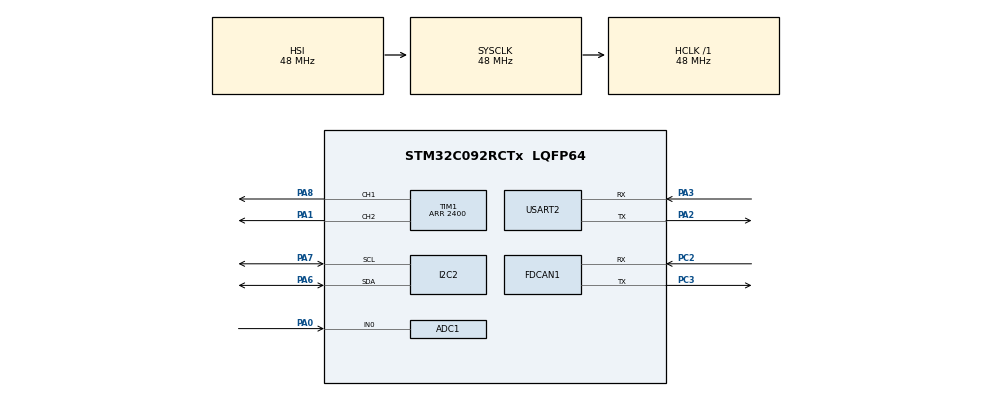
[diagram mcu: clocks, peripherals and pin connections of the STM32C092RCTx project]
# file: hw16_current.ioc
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ADC1.NbrOfConversionFlag=0
ADC1.SelectedChannel=ADC_CHANNEL_0
ADC1.master=1
FDCAN1.CalculateBaudRateNominal=1000000
FDCAN1.CalculateTimeBitNominal=1000
FDCAN1.CalculateTimeQuantumNominal=333.3333333333333
I2C2.Timing=0x10805D88
Mcu.Family=STM32C0
Mcu.Name=STM32C092RCTx
Mcu.Package=LQFP64
NUCLEO-C092RC.BUTTON=1
NUCLEO-C092RC.LD1=true
NUCLEO-C092RC.LD2=true
NUCLEO-C092RC.VCP=false
NVIC.EXTI4_15_IRQn=true\:0\:0\:false\:false\:true\:false\:true\:true
NVIC.TIM2_IRQn=true\:0\:0\:false\:false\:true\:true\:true\:true
PA0.Mode=IN0
PA0.Signal=ADC1_IN0
PA1.Signal=S_TIM1_CH2
PA13.GPIO_Label=SWDIO
PA13.Signal=DEBUG_SWDIO
PA14-BOOT0.GPIO_Label=SWCLK
PA14-BOOT0.Signal=DEBUG_SWCLK
PA2.Mode=Asynchronous
PA2.Signal=USART2_TX
PA3.Mode=Asynchronous
PA3.Signal=USART2_RX
PA6.Mode=I2C
PA6.Signal=I2C2_SDA
PA7.Mode=I2C
PA7.Signal=I2C2_SCL
PA8.Signal=S_TIM1_CH1
PC14-OSCX_IN(PC14).GPIO_Label=OSCX_IN
PC14-OSCX_IN(PC14).Signal=RCC_OSCX_IN
PC15-OSCX_OUT(PC15).GPIO_Label=OSCX_OUT
PC15-OSCX_OUT(PC15).Signal=RCC_OSCX_OUT
PC2.Mode=FDCAN_Activate
PC2.Signal=FDCAN1_RX
PC3.Mode=FDCAN_Activate
PC3.Signal=FDCAN1_TX
PF0-OSC_IN(PF0).GPIO_Label=OSC_IN
PF0-OSC_IN(PF0).Signal=RCC_OSC_IN
PF1-OSC_OUT(PF1).GPIO_Label=OSC_OUT
PF1-OSC_OUT(PF1).Signal=RCC_OSC_OUT
ProjectManager.HeapSize=0x200
ProjectManager.StackSize=0x400
ProjectManager.TargetToolchain=STM32CubeIDE
RCC.ADCFreq_Value=48000000
RCC.AHBFreq_Value=48000000
RCC.CortexFreq_Value=48000000
RCC.EXTERNAL_CLOCK_VALUE=12288000
RCC.HCLKFreq_Value=48000000
RCC.HSE_VALUE=8000000
RCC.HSISYSCLKDivider=RCC_HSI_DIV1
RCC.HSI_VALUE=48000000
RCC.LSE_VALUE=32768
RCC.SYSCLKFreq_VALUE=48000000
SH.S_TIM1_CH1.0=TIM1_CH1,PWM Generation1 CH1
SH.S_TIM1_CH2.0=TIM1_CH2,PWM Generation2 CH2
TIM1.Channel-PWM\ Generation1\ CH1=TIM_CHANNEL_1
TIM1.Channel-PWM\ Generation2\ CH2=TIM_CHANNEL_2
TIM1.Period=2400
TIM2.Period=48000
USART2.VirtualMode-Asynchronous=VM_ASYNC
VP_NUCLEO-C092RC_VS_BSP_COMMON.Mode=COMMON
VP_TIM1_VS_ClockSourceINT.Mode=Internal
VP_TIM2_VS_ClockSourceINT.Mode=Internal
board=NUCLEO-C092RC

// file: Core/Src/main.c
/* USER CODE BEGIN Header */
/**
  ******************************************************************************
  * @file           : main.c
  * @brief          : Main program body
  ******************************************************************************
  * @attention
  *
  * Copyright (c) 2026 STMicroelectronics.
  * All rights reserved.
  *
  * This software is licensed under terms that can be found in the LICENSE file
  * in the root directory of this software component.
  * If no LICENSE file comes with this software, it is provided AS-IS.
  *
  ******************************************************************************
  */
/* USER CODE END Header */
#include "main.h"

/* USER CODE BEGIN Includes */
#include <stdio.h>
/* USER CODE END Includes */

/* USER CODE BEGIN PD */
#define INA219_ADDR             0x40   // default I2C address (A0=A1=GND)
#define INA219_REG_CONFIG       0x00
#define INA219_REG_SHUNTVOLTAGE 0x01
#define INA219_REG_BUSVOLTAGE   0x02
#define INA219_REG_POWER        0x03
#define INA219_REG_CURRENT      0x04
#define INA219_REG_CALIBRATION  0x05
#define AS5600_ADDR        0x36
#define AS5600_RAW_ANGLE   0x0C   // high byte; low byte at 0x0D
/* USER CODE END PD */

ADC_HandleTypeDef hadc1;

FDCAN_HandleTypeDef hfdcan1;

I2C_HandleTypeDef hi2c2;

TIM_HandleTypeDef htim1;
TIM_HandleTypeDef htim2;

UART_HandleTypeDef huart2;

/* USER CODE BEGIN PV */
volatile int state = 0;
#define EINTMAX 5000
// PI controller gains (hard-coded, tune these)
float kp = 0.4;
float ki = 0.2;

// Control loop variables
volatile float desired_current = 200.0;   // target, in same units as readINA219 (1/3 mA)
volatile float eint = 0.0;                 // integral of error

// Data logging arrays (400 samples)
#define NSAMPLES 400
volatile int   log_index[NSAMPLES];
volatile float log_desired[NSAMPLES];
volatile float log_actual[NSAMPLES];
volatile int   samples_collected = 0;
/* USER CODE END PV */

void SystemClock_Config(void);
static void MX_GPIO_Init(void);
static void MX_ADC1_Init(void);
static void MX_FDCAN1_Init(void);
static void MX_I2C2_Init(void);
static void MX_TIM1_Init(void);
static void MX_TIM2_Init(void);
static void MX_USART2_UART_Init(void);
/* USER CODE BEGIN PFP */
uint32_t readADC(void);
void init_ina219(void);
float read_ina219(void);
void writeINA219(int reg, int value);
signed short readINA219(unsigned char reg);
/* USER CODE END PFP */

/* USER CODE BEGIN 0 */
// Retarget printf to USART2 (the VCP to the PC)
int __io_putchar(int ch)
{
    HAL_UART_Transmit(&huart2, (uint8_t*)&ch, 1, 100);
    return ch;
}

// Read the 12-bit raw angle from the AS5600 (0-4095 = 0-360 degrees)
uint16_t readAS5600(void)
{
    uint8_t reg = AS5600_RAW_ANGLE;
    uint8_t buf[2];
    HAL_I2C_Master_Transmit(&hi2c2, AS5600_ADDR << 1, &reg, 1, 10);
    HAL_I2C_Master_Receive(&hi2c2, AS5600_ADDR << 1, buf, 2, 10);
    uint16_t angle = ((buf[0] << 8) | buf[1]) & 0x0FFF;  // 12-bit
    return angle;
}

// Read one ADC sample from the potentiometer (PA0 / ADC1_IN0)
uint32_t readADC(void)
{
    uint32_t raw;
    HAL_ADC_Start(&hadc1);
    if (HAL_ADC_PollForConversion(&hadc1, 10) == HAL_OK)
    {
        raw = HAL_ADC_GetValue(&hadc1);
    }
    else
    {
        raw = 0;
    }
    HAL_ADC_Stop(&hadc1);
    return raw;
}

// write 2 bytes to an INA219 register
void writeINA219(int reg, int value)
{
    uint8_t buf[3];
    buf[0] = reg;
    buf[1] = value >> 8;
    buf[2] = value & 0xff;
    HAL_I2C_Master_Transmit(&hi2c2, INA219_ADDR << 1, buf, 3, 10);
}

// read 2 bytes from an INA219 register
signed short readINA219(unsigned char reg)
{
    HAL_I2C_Master_Transmit(&hi2c2, INA219_ADDR << 1, &reg, 1, 10);
    uint8_t buffer[2];
    HAL_I2C_Master_Receive(&hi2c2, INA219_ADDR << 1, buffer, 2, 10);
    signed short value = (buffer[0] << 8) | buffer[1];
    return value;
}

// initialize the INA219 (10-bit, +/-160mV, 148us per sample)
void init_ina219(void)
{
    unsigned short ina219_calValue = 1024;
    unsigned short ina219_config = 0b0011000010001111;
    writeINA219(INA219_REG_CALIBRATION, ina219_calValue);
    writeINA219(INA219_REG_CONFIG, ina219_config);
}

// read current as a float in milliamps
float read_ina219(void)
{
    float ma = 0;
    signed short value = readINA219(INA219_REG_CURRENT);
    ma = value / 3.0;
    return ma;
}

/* USER CODE END 0 */

int main(void)
{

  /* MCU Configuration--------------------------------------------------------*/

  /* Reset of all peripherals, Initializes the Flash interface and the Systick. */
  HAL_Init();

  /* Configure the system clock */
  SystemClock_Config();

  /* Initialize all configured peripherals */
  MX_GPIO_Init();
  MX_ADC1_Init();
  MX_FDCAN1_Init();
  MX_I2C2_Init();
  MX_TIM1_Init();
  MX_TIM2_Init();
  MX_USART2_UART_Init();
  /* USER CODE BEGIN 2 */
  HAL_ADCEx_Calibration_Start(&hadc1);
  init_ina219();
  HAL_TIM_Base_Start_IT(&htim2);
  signed short cfg = readINA219(INA219_REG_CONFIG);
  printf("Config readback: 0x%04X (expect 0x308F)\r\n", (unsigned short)cfg);

  // Start PWM, motor OFF (both high)
  __HAL_TIM_SET_COMPARE(&htim1, TIM_CHANNEL_1, 2400);
  __HAL_TIM_SET_COMPARE(&htim1, TIM_CHANNEL_2, 2400);
  HAL_TIM_PWM_Start(&htim1, TIM_CHANNEL_1);
  HAL_TIM_PWM_Start(&htim1, TIM_CHANNEL_2);

  printf("Current controller - send 'a' to run\r\n");
  /* USER CODE END 2 */

  /* Initialize leds */
  BSP_LED_Init(LED_GREEN);
  BSP_LED_Init(LED_BLUE);

  /* Initialize USER push-button, will be used to trigger an interrupt each time it's pressed.*/
  BSP_PB_Init(BUTTON_USER, BUTTON_MODE_EXTI);

  /* Infinite loop */
  /* USER CODE BEGIN WHILE */

  /* USER CODE BEGIN WHILE */
  while (1)
  {

	    uint8_t c;
	    if (HAL_UART_Receive(&huart2, &c, 1, 10) == HAL_OK)
	    {
	      if (c == 'a')
      {
        state = 1;                 // start the control run
        while (state == 1) { }     // wait for the interrupt to finish 400 cycles

        // Print the logged data
        for (int i = 0; i < samples_collected; i++)
        {
          printf("%d %d %d\r\n",
                 log_index[i],
                 (int)log_desired[i],
                 (int)log_actual[i]);
        }
        printf("done\r\n");
      }
    }
    /* USER CODE END WHILE */

  }
}
void SystemClock_Config(void)
{
  RCC_OscInitTypeDef RCC_OscInitStruct = {0};
  RCC_ClkInitTypeDef RCC_ClkInitStruct = {0};

  __HAL_FLASH_SET_LATENCY(FLASH_LATENCY_1);

  /** Initializes the RCC Oscillators according to the specified parameters
  * in the RCC_OscInitTypeDef structure.
  */
  RCC_OscInitStruct.OscillatorType = RCC_OSCILLATORTYPE_HSI;
  RCC_OscInitStruct.HSIState = RCC_HSI_ON;
  RCC_OscInitStruct.HSIDiv = RCC_HSI_DIV1;
  RCC_OscInitStruct.HSICalibrationValue = RCC_HSICALIBRATION_DEFAULT;
  if (HAL_RCC_OscConfig(&RCC_OscInitStruct) != HAL_OK)
  {
    Error_Handler();
  }

  /** Initializes the CPU, AHB and APB buses clocks
  */
  RCC_ClkInitStruct.ClockType = RCC_CLOCKTYPE_HCLK|RCC_CLOCKTYPE_SYSCLK
                              |RCC_CLOCKTYPE_PCLK1;
  RCC_ClkInitStruct.SYSCLKSource = RCC_SYSCLKSOURCE_HSI;
  RCC_ClkInitStruct.SYSCLKDivider = RCC_SYSCLK_DIV1;
  RCC_ClkInitStruct.AHBCLKDivider = RCC_HCLK_DIV1;
  RCC_ClkInitStruct.APB1CLKDivider = RCC_APB1_DIV1;

  if (HAL_RCC_ClockConfig(&RCC_ClkInitStruct, FLASH_LATENCY_1) != HAL_OK)
  {
    Error_Handler();
  }
}

static void MX_ADC1_Init(void)
{

  ADC_ChannelConfTypeDef sConfig = {0};

  /** Configure the global features of the ADC (Clock, Resolution, Data Alignment and number of conversion)
  */
  hadc1.Instance = ADC1;
  hadc1.Init.ClockPrescaler = ADC_CLOCK_SYNC_PCLK_DIV2;
  hadc1.Init.Resolution = ADC_RESOLUTION_12B;
  hadc1.Init.DataAlign = ADC_DATAALIGN_RIGHT;
  hadc1.Init.ScanConvMode = ADC_SCAN_SEQ_FIXED;
  hadc1.Init.EOCSelection = ADC_EOC_SINGLE_CONV;
  hadc1.Init.LowPowerAutoWait = DISABLE;
  hadc1.Init.LowPowerAutoPowerOff = DISABLE;
  hadc1.Init.ContinuousConvMode = DISABLE;
  hadc1.Init.NbrOfConversion = 1;
  hadc1.Init.DiscontinuousConvMode = DISABLE;
  hadc1.Init.ExternalTrigConv = ADC_SOFTWARE_START;
  hadc1.Init.ExternalTrigConvEdge = ADC_EXTERNALTRIGCONVEDGE_NONE;
  hadc1.Init.DMAContinuousRequests = DISABLE;
  hadc1.Init.Overrun = ADC_OVR_DATA_PRESERVED;
  hadc1.Init.SamplingTimeCommon1 = ADC_SAMPLETIME_1CYCLE_5;
  hadc1.Init.OversamplingMode = DISABLE;
  hadc1.Init.TriggerFrequencyMode = ADC_TRIGGER_FREQ_HIGH;
  if (HAL_ADC_Init(&hadc1) != HAL_OK)
  {
    Error_Handler();
  }

  /** Configure Regular Channel
  */
  sConfig.Channel = ADC_CHANNEL_0;
  sConfig.Rank = ADC_RANK_CHANNEL_NUMBER;
  if (HAL_ADC_ConfigChannel(&hadc1, &sConfig) != HAL_OK)
  {
    Error_Handler();
  }

}

static void MX_FDCAN1_Init(void)
{

  hfdcan1.Instance = FDCAN1;
  hfdcan1.Init.ClockDivider = FDCAN_CLOCK_DIV1;
  hfdcan1.Init.FrameFormat = FDCAN_FRAME_CLASSIC;
  hfdcan1.Init.Mode = FDCAN_MODE_NORMAL;
  hfdcan1.Init.AutoRetransmission = DISABLE;
  hfdcan1.Init.TransmitPause = DISABLE;
  hfdcan1.Init.ProtocolException = DISABLE;
  hfdcan1.Init.NominalPrescaler = 16;
  hfdcan1.Init.NominalSyncJumpWidth = 1;
  hfdcan1.Init.NominalTimeSeg1 = 1;
  hfdcan1.Init.NominalTimeSeg2 = 1;
  hfdcan1.Init.DataPrescaler = 1;
  hfdcan1.Init.DataSyncJumpWidth = 1;
  hfdcan1.Init.DataTimeSeg1 = 1;
  hfdcan1.Init.DataTimeSeg2 = 1;
  hfdcan1.Init.StdFiltersNbr = 0;
  hfdcan1.Init.ExtFiltersNbr = 0;
  hfdcan1.Init.TxFifoQueueMode = FDCAN_TX_FIFO_OPERATION;
  if (HAL_FDCAN_Init(&hfdcan1) != HAL_OK)
  {
    Error_Handler();
  }

}

static void MX_I2C2_Init(void)
{

  hi2c2.Instance = I2C2;
  hi2c2.Init.Timing = 0x10805D88;
  hi2c2.Init.OwnAddress1 = 0;
  hi2c2.Init.AddressingMode = I2C_ADDRESSINGMODE_7BIT;
  hi2c2.Init.DualAddressMode = I2C_DUALADDRESS_DISABLE;
  hi2c2.Init.OwnAddress2 = 0;
  hi2c2.Init.OwnAddress2Masks = I2C_OA2_NOMASK;
  hi2c2.Init.GeneralCallMode = I2C_GENERALCALL_DISABLE;
  hi2c2.Init.NoStretchMode = I2C_NOSTRETCH_DISABLE;
  if (HAL_I2C_Init(&hi2c2) != HAL_OK)
  {
    Error_Handler();
  }

  /** Configure Analogue filter
  */
  if (HAL_I2CEx_ConfigAnalogFilter(&hi2c2, I2C_ANALOGFILTER_ENABLE) != HAL_OK)
  {
    Error_Handler();
  }

  /** Configure Digital filter
  */
  if (HAL_I2CEx_ConfigDigitalFilter(&hi2c2, 0) != HAL_OK)
  {
    Error_Handler();
  }

}

static void MX_TIM1_Init(void)
{

  TIM_ClockConfigTypeDef sClockSourceConfig = {0};
  TIM_MasterConfigTypeDef sMasterConfig = {0};
  TIM_OC_InitTypeDef sConfigOC = {0};
  TIM_BreakDeadTimeConfigTypeDef sBreakDeadTimeConfig = {0};

  htim1.Instance = TIM1;
  htim1.Init.Prescaler = 0;
  htim1.Init.CounterMode = TIM_COUNTERMODE_UP;
  htim1.Init.Period = 2400;
  htim1.Init.ClockDivision = TIM_CLOCKDIVISION_DIV1;
  htim1.Init.RepetitionCounter = 0;
  htim1.Init.AutoReloadPreload = TIM_AUTORELOAD_PRELOAD_DISABLE;
  if (HAL_TIM_Base_Init(&htim1) != HAL_OK)
  {
    Error_Handler();
  }
  sClockSourceConfig.ClockSource = TIM_CLOCKSOURCE_INTERNAL;
  if (HAL_TIM_ConfigClockSource(&htim1, &sClockSourceConfig) != HAL_OK)
  {
    Error_Handler();
  }
  if (HAL_TIM_PWM_Init(&htim1) != HAL_OK)
  {
    Error_Handler();
  }
  sMasterConfig.MasterOutputTrigger = TIM_TRGO_RESET;
  sMasterConfig.MasterOutputTrigger2 = TIM_TRGO2_RESET;
  sMasterConfig.MasterSlaveMode = TIM_MASTERSLAVEMODE_DISABLE;
  if (HAL_TIMEx_MasterConfigSynchronization(&htim1, &sMasterConfig) != HAL_OK)
  {
    Error_Handler();
  }
  sConfigOC.OCMode = TIM_OCMODE_PWM1;
  sConfigOC.Pulse = 0;
  sConfigOC.OCPolarity = TIM_OCPOLARITY_HIGH;
  sConfigOC.OCNPolarity = TIM_OCNPOLARITY_HIGH;
  sConfigOC.OCFastMode = TIM_OCFAST_DISABLE;
  sConfigOC.OCIdleState = TIM_OCIDLESTATE_RESET;
  sConfigOC.OCNIdleState = TIM_OCNIDLESTATE_RESET;
  if (HAL_TIM_PWM_ConfigChannel(&htim1, &sConfigOC, TIM_CHANNEL_1) != HAL_OK)
  {
    Error_Handler();
  }
  if (HAL_TIM_PWM_ConfigChannel(&htim1, &sConfigOC, TIM_CHANNEL_2) != HAL_OK)
  {
    Error_Handler();
  }
  sBreakDeadTimeConfig.OffStateRunMode = TIM_OSSR_DISABLE;
  sBreakDeadTimeConfig.OffStateIDLEMode = TIM_OSSI_DISABLE;
  sBreakDeadTimeConfig.LockLevel = TIM_LOCKLEVEL_OFF;
  sBreakDeadTimeConfig.DeadTime = 0;
  sBreakDeadTimeConfig.BreakState = TIM_BREAK_DISABLE;
  sBreakDeadTimeConfig.BreakPolarity = TIM_BREAKPOLARITY_HIGH;
  sBreakDeadTimeConfig.BreakFilter = 0;
  sBreakDeadTimeConfig.BreakAFMode = TIM_BREAK_AFMODE_INPUT;
  sBreakDeadTimeConfig.Break2State = TIM_BREAK2_DISABLE;
  sBreakDeadTimeConfig.Break2Polarity = TIM_BREAK2POLARITY_HIGH;
  sBreakDeadTimeConfig.Break2Filter = 0;
  sBreakDeadTimeConfig.Break2AFMode = TIM_BREAK_AFMODE_INPUT;
  sBreakDeadTimeConfig.AutomaticOutput = TIM_AUTOMATICOUTPUT_DISABLE;
  if (HAL_TIMEx_ConfigBreakDeadTime(&htim1, &sBreakDeadTimeConfig) != HAL_OK)
  {
    Error_Handler();
  }
  HAL_TIM_MspPostInit(&htim1);

}

static void MX_TIM2_Init(void)
{

  TIM_ClockConfigTypeDef sClockSourceConfig = {0};
  TIM_MasterConfigTypeDef sMasterConfig = {0};

  htim2.Instance = TIM2;
  htim2.Init.Prescaler = 0;
  htim2.Init.CounterMode = TIM_COUNTERMODE_UP;
  htim2.Init.Period = 48000;
  htim2.Init.ClockDivision = TIM_CLOCKDIVISION_DIV1;
  htim2.Init.AutoReloadPreload = TIM_AUTORELOAD_PRELOAD_DISABLE;
  if (HAL_TIM_Base_Init(&htim2) != HAL_OK)
  {
    Error_Handler();
  }
  sClockSourceConfig.ClockSource = TIM_CLOCKSOURCE_INTERNAL;
  if (HAL_TIM_ConfigClockSource(&htim2, &sClockSourceConfig) != HAL_OK)
  {
    Error_Handler();
  }
  sMasterConfig.MasterOutputTrigger = TIM_TRGO_RESET;
  sMasterConfig.MasterSlaveMode = TIM_MASTERSLAVEMODE_DISABLE;
  if (HAL_TIMEx_MasterConfigSynchronization(&htim2, &sMasterConfig) != HAL_OK)
  {
    Error_Handler();
  }

}

static void MX_USART2_UART_Init(void)
{

  huart2.Instance = USART2;
  huart2.Init.BaudRate = 115200;
  huart2.Init.WordLength = UART_WORDLENGTH_8B;
  huart2.Init.StopBits = UART_STOPBITS_1;
  huart2.Init.Parity = UART_PARITY_NONE;
  huart2.Init.Mode = UART_MODE_TX_RX;
  huart2.Init.HwFlowCtl = UART_HWCONTROL_NONE;
  huart2.Init.OverSampling = UART_OVERSAMPLING_16;
  huart2.Init.OneBitSampling = UART_ONE_BIT_SAMPLE_DISABLE;
  huart2.Init.ClockPrescaler = UART_PRESCALER_DIV1;
  huart2.AdvancedInit.AdvFeatureInit = UART_ADVFEATURE_NO_INIT;
  if (HAL_UART_Init(&huart2) != HAL_OK)
  {
    Error_Handler();
  }

}

static void MX_GPIO_Init(void)
{

  /* GPIO Ports Clock Enable */
  __HAL_RCC_GPIOC_CLK_ENABLE();
  __HAL_RCC_GPIOF_CLK_ENABLE();
  __HAL_RCC_GPIOA_CLK_ENABLE();

}

/* USER CODE BEGIN 4 */
/* USER CODE BEGIN 4 */
// 1 kHz timer interrupt (TIM2)
void HAL_TIM_PeriodElapsedCallback(TIM_HandleTypeDef *htim)
{
    if (htim == &htim2)
    {
        static volatile int counter = 0;

        // --- SAFETY: read pot, kill motor if outside safe range ---
        uint32_t pos = readADC();
        if (pos < 250 || pos > (4095 - 250))
        {
            // Motor off (both inputs high)
            __HAL_TIM_SET_COMPARE(&htim1, TIM_CHANNEL_1, 2400);
            __HAL_TIM_SET_COMPARE(&htim1, TIM_CHANNEL_2, 2400);
            return;   // skip control this cycle
        }

        // --- CONTROL: only run when state == 1 ---
        if (state == 1)
              {
                  // Read actual current
                  float actual_current = (float)readINA219(INA219_REG_CURRENT);

                  // Set desired current as a 4-phase square wave based on counter
                  if (counter < NSAMPLES/4)
                      desired_current = -600;
                  else if (counter < NSAMPLES/2)
                      desired_current = 600;
                  else if (counter < NSAMPLES*3/4)
                      desired_current = -600;
                  else
                      desired_current = 600;

                  // PI controller with anti-windup
                  float error = desired_current - actual_current;
                  eint = eint + error;
                  if (eint > EINTMAX)  eint = EINTMAX;     // anti-windup clamp
                  if (eint < -EINTMAX) eint = -EINTMAX;
                  float u = kp * error + ki * eint;        // control effort (+ or -)

                  // Magnitude sets PWM depth; sign sets direction
                  float mag = u;
                  if (mag < 0) mag = -mag;
                  if (mag > 2400) mag = 2400;

                  if (u >= 0)
                  {
                      __HAL_TIM_SET_COMPARE(&htim1, TIM_CHANNEL_1, 2400);              // swapped
                      __HAL_TIM_SET_COMPARE(&htim1, TIM_CHANNEL_2, 2400 - (uint32_t)mag);
                  }
                  else
                  {
                      __HAL_TIM_SET_COMPARE(&htim1, TIM_CHANNEL_1, 2400 - (uint32_t)mag);  // swapped
                      __HAL_TIM_SET_COMPARE(&htim1, TIM_CHANNEL_2, 2400);
                  }

                  // Log this sample
                  if (counter < NSAMPLES)
                  {
                      log_index[counter]   = counter;
                      log_desired[counter] = desired_current;
                      log_actual[counter]  = actual_current;
                  }

                  counter++;

                  // After NSAMPLES cycles, stop
                  if (counter >= NSAMPLES)
                  {
                      __HAL_TIM_SET_COMPARE(&htim1, TIM_CHANNEL_1, 2400);
                      __HAL_TIM_SET_COMPARE(&htim1, TIM_CHANNEL_2, 2400);
                      samples_collected = counter;
                      counter = 0;
                      eint = 0.0;
                      state = 0;
                  }
              }
    }
}

/* USER CODE END 4 */

void Error_Handler(void)
{
  __disable_irq();
  while (1)
  {
  }
}
